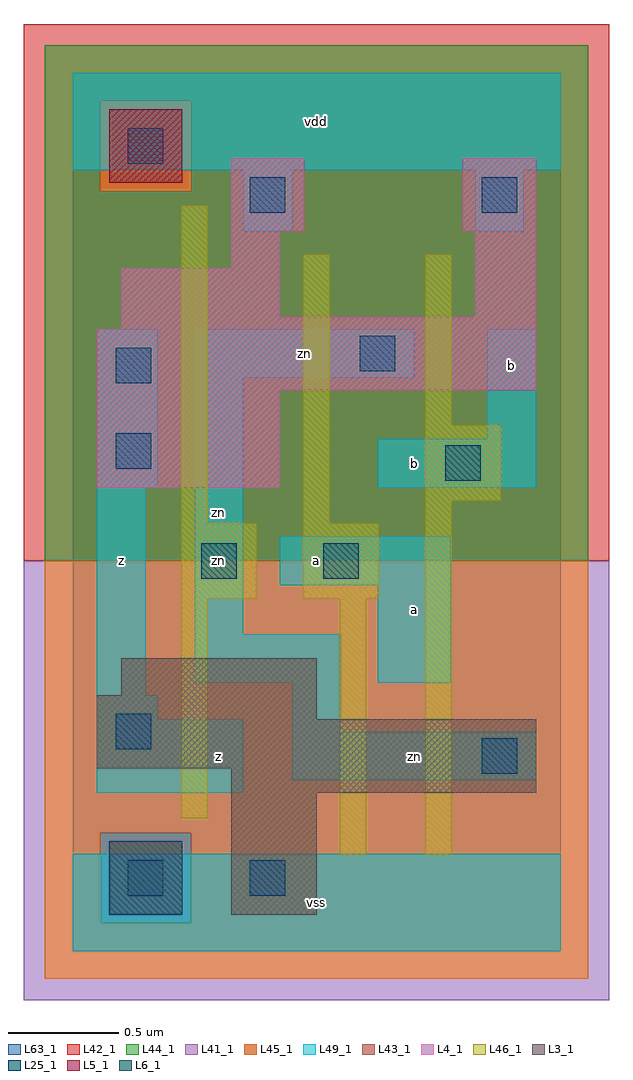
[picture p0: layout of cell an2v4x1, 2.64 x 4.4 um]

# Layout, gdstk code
import gdstk
lib = gdstk.Library(unit=1e-6, precision=1e-09)
def R(c, l, rs):  # rectangles x0, y0, x1, y1
    for r in rs: c.add(gdstk.rectangle(r[:2], r[2:], *l))
L3_1 = (3, 1)
L4_1 = (4, 1)
L5_1 = (5, 1)
L6_1 = (6, 1)
L25_1 = (25, 1)
L41_1 = (41, 1)
L42_1 = (42, 1)
L43_1 = (43, 1)
L44_1 = (44, 1)
L45_1 = (45, 1)
L46_1 = (46, 1)
L49_1 = (49, 1)
L63_1 = (63, 1)

an2v4x1 = lib.new_cell('an2v4x1')
R(an2v4x1, L3_1, [(0.715,0.165,1.1,0.715), (0.715,0.715,2.09,0.825), (0.11,0.825,2.09,1.045), (0.11,1.045,1.1,1.155), (0.22,1.155,1.1,1.32)])
R(an2v4x1, L4_1, [(0.11,2.09,0.935,2.53), (0.11,2.53,2.09,2.805), (0.22,2.805,2.09,2.86), (0.22,2.86,0.935,3.08), (1.815,2.86,2.09,3.245), (0.715,3.08,0.935,3.245), (0.715,3.245,1.045,3.575), (1.76,3.245,2.09,3.575)])
R(an2v4x1, L5_1, [(0.165,3.465,0.495,3.795)])
R(an2v4x1, L6_1, [(0.165,0.165,0.495,0.495)])
R(an2v4x1, L25_1, [(0.25,0.25,0.41,0.41), (0.8,0.25,0.96,0.41), (1.845,0.8,2.005,0.96), (0.195,0.91,0.355,1.07), (0.58,1.68,0.74,1.84), (1.13,1.68,1.29,1.84), (1.68,2.12,1.84,2.28), (0.195,2.175,0.355,2.335), (0.195,2.56,0.355,2.72), (1.295,2.615,1.455,2.775), (0.8,3.33,0.96,3.49), (1.845,3.33,2.005,3.49), (0.25,3.55,0.41,3.71)])
R(an2v4x1, L41_1, [(-0.22,-0.22,2.42,1.76)])
R(an2v4x1, L42_1, [(-0.22,1.76,2.42,4.18)])
R(an2v4x1, L43_1, [(0.165,0.165,0.495,0.495), (0.715,0.165,1.1,0.715), (0.715,0.715,2.09,0.825), (0.11,0.825,2.09,1.045), (0.11,1.045,1.1,1.155), (0.22,1.155,1.1,1.32), (0.11,2.09,0.935,2.53), (0.11,2.53,2.09,2.805), (0.22,2.805,2.09,2.86), (0.22,2.86,0.935,3.08), (1.815,2.86,2.09,3.245), (0.715,3.08,0.935,3.245), (0.715,3.245,1.045,3.575), (1.76,3.245,2.09,3.575), (0.165,3.465,0.495,3.795)])
R(an2v4x1, L44_1, [(0.125,0.125,0.535,0.535), (-0.125,1.76,2.325,3.425), (-0.125,3.425,0.125,3.835), (0.535,3.425,2.325,3.835), (-0.125,3.835,2.325,4.085)])
R(an2v4x1, L45_1, [(-0.125,-0.125,2.325,0.125), (-0.125,0.125,0.125,0.535), (0.535,0.125,2.325,0.535), (-0.125,0.535,2.325,1.76), (0.125,3.425,0.535,3.835)])
R(an2v4x1, L46_1, [(1.205,0.435,1.325,1.59), (1.59,0.435,1.71,2.03), (0.49,0.6,0.61,1.59), (0.49,1.59,0.83,1.93), (1.04,1.59,1.38,1.93), (0.49,1.93,0.61,3.36), (1.04,1.93,1.16,3.14), (1.59,2.03,1.93,2.37), (1.59,2.37,1.71,3.14)])
R(an2v4x1, L49_1, [(0,0,2.2,0.44), (0.11,0.715,0.77,1.045), (0.99,0.77,2.09,0.99), (0.99,0.99,1.21,1.21), (0.11,1.045,0.385,1.155), (0.11,1.155,0.33,2.09), (0.55,1.21,1.21,1.43), (1.375,1.21,1.705,1.65), (0.55,1.43,0.77,2.585), (0.935,1.65,1.705,1.87), (0.11,2.09,0.385,2.805), (1.375,2.09,2.09,2.31), (1.87,2.31,2.09,2.805), (0.55,2.585,1.54,2.805), (0.77,3.245,0.99,3.52), (1.815,3.245,2.035,3.52), (0,3.52,2.2,3.96)])
R(an2v4x1, L63_1, [(0,0,2.2,3.96)])
an2v4x1.add(gdstk.Label('zn', (0.66,1.76), layer=49, texttype=1))
an2v4x1.add(gdstk.Label('z', (0.22,1.76), layer=49, texttype=1))
an2v4x1.add(gdstk.Label('z', (0.66,0.88), layer=49, texttype=1))
an2v4x1.add(gdstk.Label('zn', (0.66,1.98), layer=49, texttype=1))
an2v4x1.add(gdstk.Label('vss', (1.1,0.22), layer=49, texttype=1))
an2v4x1.add(gdstk.Label('a', (1.1,1.76), layer=49, texttype=1))
an2v4x1.add(gdstk.Label('a', (1.54,1.54), layer=49, texttype=1))
an2v4x1.add(gdstk.Label('b', (1.54,2.2), layer=49, texttype=1))
an2v4x1.add(gdstk.Label('zn', (1.045,2.695), layer=49, texttype=1))
an2v4x1.add(gdstk.Label('vdd', (1.1,3.74), layer=49, texttype=1))
an2v4x1.add(gdstk.Label('zn', (1.54,0.88), layer=49, texttype=1))
an2v4x1.add(gdstk.Label('b', (1.98,2.64), layer=49, texttype=1))

lib.write_gds('an2v4x1.gds')
